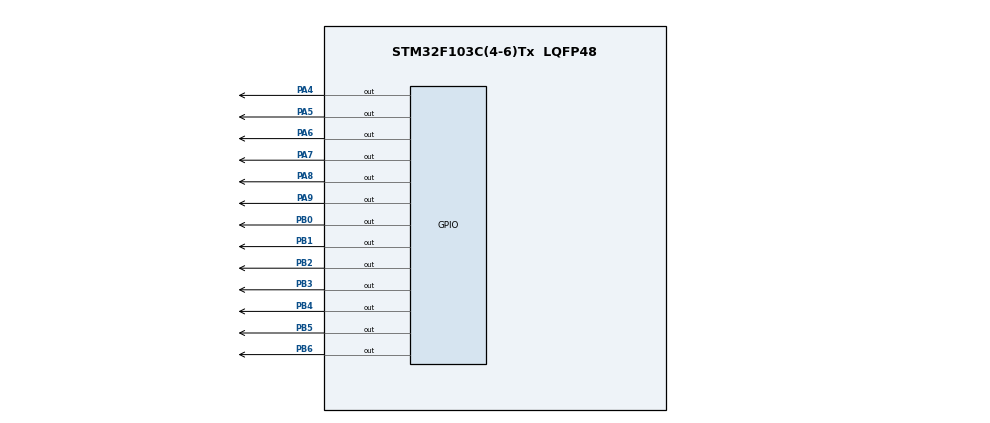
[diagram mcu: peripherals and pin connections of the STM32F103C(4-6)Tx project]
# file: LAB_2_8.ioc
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Mcu.Family=STM32F1
Mcu.Name=STM32F103C(4-6)Tx
Mcu.Package=LQFP48
NVIC.PriorityGroup=NVIC_PRIORITYGROUP_4
NVIC.TIM2_IRQn=true\:0\:0\:false\:false\:true\:true\:true
PA4.Signal=GPIO_Output
PA5.Signal=GPIO_Output
PA6.PinState=GPIO_PIN_SET
PA6.Signal=GPIO_Output
PA7.PinState=GPIO_PIN_SET
PA7.Signal=GPIO_Output
PA8.PinState=GPIO_PIN_SET
PA8.Signal=GPIO_Output
PA9.PinState=GPIO_PIN_SET
PA9.Signal=GPIO_Output
PB0.Signal=GPIO_Output
PB1.Signal=GPIO_Output
PB2.Signal=GPIO_Output
PB3.Signal=GPIO_Output
PB4.Signal=GPIO_Output
PB5.Signal=GPIO_Output
PB6.Signal=GPIO_Output
ProjectManager.HeapSize=0x200
ProjectManager.StackSize=0x400
ProjectManager.TargetToolchain=STM32CubeIDE
RCC.APB1Freq_Value=8000000
RCC.APB2Freq_Value=8000000
TIM2.Period=9
TIM2.Prescaler=7999
VP_SYS_VS_ND.Mode=No_Debug
VP_TIM2_VS_ClockSourceINT.Mode=Internal
board=custom

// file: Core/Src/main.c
/* USER CODE BEGIN Header */
/**
  ******************************************************************************
  * @file           : main.c
  * @brief          : Main program body for Lab 2 - Exercise 8
  ******************************************************************************
  */
/* USER CODE END Header */
#include "main.h"
#include "stm32f1xx_hal_tim.h"

TIM_HandleTypeDef htim2;

/* USER CODE BEGIN PV */
int hour = 15;
int minute = 8;
int second = 50;

const int MAX_LED = 4;
int index_led = 0;
int led_buffer[4] = {1, 5, 0, 8};

// === Software Timer Variables ===
int timer0_counter = 0;
int timer0_flag = 0;

int timer1_counter = 0;
int timer1_flag = 0;

int TIMER_CYCLE = 10; // Hardware timer interrupt period (10ms)
/* USER CODE END PV */

void SystemClock_Config(void);
static void MX_GPIO_Init(void);
static void MX_TIM2_Init(void);

/* USER CODE BEGIN 0 */
// === Software Timer Functions ===
void setTimer0(int duration){
    timer0_counter = duration / TIMER_CYCLE;
    timer0_flag = 0;
}

void setTimer1(int duration){
    timer1_counter = duration / TIMER_CYCLE;
    timer1_flag = 0;
}

void timer_run(){
    if(timer0_counter > 0){
        timer0_counter--;
        if(timer0_counter == 0) {
            timer0_flag = 1;
        }
    }
    if(timer1_counter > 0){
        timer1_counter--;
        if(timer1_counter == 0) {
            timer1_flag = 1;
        }
    }
}
// ================================

void display7SEG(int num) {
    uint8_t segmentMap[10] = {0x40, 0x79, 0x24, 0x30, 0x19, 0x12, 0x02, 0x78, 0x00, 0x10};
    if (num < 0 || num > 9) return;
    uint8_t val = segmentMap[num];

    HAL_GPIO_WritePin(GPIOB, GPIO_PIN_0, (val >> 0) & 0x01);
    HAL_GPIO_WritePin(GPIOB, GPIO_PIN_1, (val >> 1) & 0x01);
    HAL_GPIO_WritePin(GPIOB, GPIO_PIN_2, (val >> 2) & 0x01);
    HAL_GPIO_WritePin(GPIOB, GPIO_PIN_3, (val >> 3) & 0x01);
    HAL_GPIO_WritePin(GPIOB, GPIO_PIN_4, (val >> 4) & 0x01);
    HAL_GPIO_WritePin(GPIOB, GPIO_PIN_5, (val >> 5) & 0x01);
    HAL_GPIO_WritePin(GPIOB, GPIO_PIN_6, (val >> 6) & 0x01);
}

void update7SEG(int index) {
    HAL_GPIO_WritePin(GPIOA, GPIO_PIN_6 | GPIO_PIN_7 | GPIO_PIN_8 | GPIO_PIN_9, GPIO_PIN_SET);

    switch (index) {
        case 0:
            display7SEG(led_buffer[0]);
            HAL_GPIO_WritePin(GPIOA, GPIO_PIN_6, GPIO_PIN_RESET);
            break;
        case 1:
            display7SEG(led_buffer[1]);
            HAL_GPIO_WritePin(GPIOA, GPIO_PIN_7, GPIO_PIN_RESET);
            break;
        case 2:
            display7SEG(led_buffer[2]);
            HAL_GPIO_WritePin(GPIOA, GPIO_PIN_8, GPIO_PIN_RESET);
            break;
        case 3:
            display7SEG(led_buffer[3]);
            HAL_GPIO_WritePin(GPIOA, GPIO_PIN_9, GPIO_PIN_RESET);
            break;
    }
}

void updateClockBuffer() {
    led_buffer[0] = hour / 10;
    led_buffer[1] = hour % 10;
    led_buffer[2] = minute / 10;
    led_buffer[3] = minute % 10;
}
/* USER CODE END 0 */

int main(void)
{
  HAL_Init();
  SystemClock_Config();
  MX_GPIO_Init();
  MX_TIM2_Init();

  /* USER CODE BEGIN 2 */
  HAL_TIM_Base_Start_IT(&htim2);

  // Initialize Timer 0 for the 1-second clock
  setTimer0(1000);

  // Initialize Timer 1 for the 10ms display scanning
  setTimer1(10);
  /* USER CODE END 2 */

  /* Infinite loop */
  while (1)
  {
      /* USER CODE BEGIN WHILE */

      // Task 1: Clock Update and LED Toggle
      if (timer0_flag == 1) {
          second++;
          if (second >= 60){
              second = 0;
              minute++;
          }
          if(minute >= 60){
              minute = 0;
              hour++;
          }
          if(hour >= 24){
              hour = 0;
          }

          updateClockBuffer();
          HAL_GPIO_TogglePin(GPIOA, GPIO_PIN_4 | GPIO_PIN_5);

          setTimer0(1000); // Reset Clock Timer
      }

      // Task 2: 7-Segment Multiplexing
      if (timer1_flag == 1) {
          update7SEG(index_led++);
          if (index_led >= MAX_LED) {
              index_led = 0;
          }

          setTimer1(10); // Reset Scan Timer (10ms)
      }

      /* USER CODE END WHILE */
  }
}

void SystemClock_Config(void)
{
  RCC_OscInitTypeDef RCC_OscInitStruct = {0};
  RCC_ClkInitTypeDef RCC_ClkInitStruct = {0};

  RCC_OscInitStruct.OscillatorType = RCC_OSCILLATORTYPE_HSI;
  RCC_OscInitStruct.HSIState = RCC_HSI_ON;
  RCC_OscInitStruct.HSICalibrationValue = RCC_HSICALIBRATION_DEFAULT;
  RCC_OscInitStruct.PLL.PLLState = RCC_PLL_NONE;
  if (HAL_RCC_OscConfig(&RCC_OscInitStruct) != HAL_OK)
  {
    Error_Handler();
  }
  RCC_ClkInitStruct.ClockType = RCC_CLOCKTYPE_HCLK|RCC_CLOCKTYPE_SYSCLK
                              |RCC_CLOCKTYPE_PCLK1|RCC_CLOCKTYPE_PCLK2;
  RCC_ClkInitStruct.SYSCLKSource = RCC_SYSCLKSOURCE_HSI;
  RCC_ClkInitStruct.AHBCLKDivider = RCC_SYSCLK_DIV1;
  RCC_ClkInitStruct.APB1CLKDivider = RCC_HCLK_DIV1;
  RCC_ClkInitStruct.APB2CLKDivider = RCC_HCLK_DIV1;

  if (HAL_RCC_ClockConfig(&RCC_ClkInitStruct, FLASH_LATENCY_0) != HAL_OK)
  {
    Error_Handler();
  }
}

static void MX_TIM2_Init(void)
{
  TIM_ClockConfigTypeDef sClockSourceConfig = {0};
  TIM_MasterConfigTypeDef sMasterConfig = {0};

  htim2.Instance = TIM2;
  htim2.Init.Prescaler = 7999;
  htim2.Init.CounterMode = TIM_COUNTERMODE_UP;
  htim2.Init.Period = 9; // 10ms hardware interrupt base
  htim2.Init.ClockDivision = TIM_CLOCKDIVISION_DIV1;
  htim2.Init.AutoReloadPreload = TIM_AUTORELOAD_PRELOAD_ENABLE;
  if (HAL_TIM_Base_Init(&htim2) != HAL_OK)
  {
    Error_Handler();
  }
  sClockSourceConfig.ClockSource = TIM_CLOCKSOURCE_INTERNAL;
  if (HAL_TIM_ConfigClockSource(&htim2, &sClockSourceConfig) != HAL_OK)
  {
    Error_Handler();
  }
  sMasterConfig.MasterOutputTrigger = TIM_TRGO_RESET;
  sMasterConfig.MasterSlaveMode = TIM_MASTERSLAVEMODE_DISABLE;
  if (HAL_TIMEx_MasterConfigSynchronization(&htim2, &sMasterConfig) != HAL_OK)
  {
    Error_Handler();
  }
}

static void MX_GPIO_Init(void)
{
  GPIO_InitTypeDef GPIO_InitStruct = {0};

  __HAL_RCC_GPIOA_CLK_ENABLE();
  __HAL_RCC_GPIOB_CLK_ENABLE();

  HAL_GPIO_WritePin(GPIOA, GPIO_PIN_4 | GPIO_PIN_5, GPIO_PIN_RESET);
  HAL_GPIO_WritePin(GPIOA, GPIO_PIN_6|GPIO_PIN_7|GPIO_PIN_8|GPIO_PIN_9, GPIO_PIN_SET);
  HAL_GPIO_WritePin(GPIOB, GPIO_PIN_0|GPIO_PIN_1|GPIO_PIN_2|GPIO_PIN_3
                          |GPIO_PIN_4|GPIO_PIN_5|GPIO_PIN_6, GPIO_PIN_RESET);

  GPIO_InitStruct.Pin = GPIO_PIN_4 | GPIO_PIN_5 | GPIO_PIN_6 | GPIO_PIN_7 | GPIO_PIN_8 | GPIO_PIN_9;
  GPIO_InitStruct.Mode = GPIO_MODE_OUTPUT_PP;
  GPIO_InitStruct.Pull = GPIO_NOPULL;
  GPIO_InitStruct.Speed = GPIO_SPEED_FREQ_LOW;
  HAL_GPIO_Init(GPIOA, &GPIO_InitStruct);

  GPIO_InitStruct.Pin = GPIO_PIN_0|GPIO_PIN_1|GPIO_PIN_2|GPIO_PIN_3
                          |GPIO_PIN_4|GPIO_PIN_5|GPIO_PIN_6;
  GPIO_InitStruct.Mode = GPIO_MODE_OUTPUT_PP;
  GPIO_InitStruct.Pull = GPIO_NOPULL;
  GPIO_InitStruct.Speed = GPIO_SPEED_FREQ_LOW;
  HAL_GPIO_Init(GPIOB, &GPIO_InitStruct);
}

/* USER CODE BEGIN 4 */
void HAL_TIM_PeriodElapsedCallback(TIM_HandleTypeDef *htim)
{
    if(htim->Instance == TIM2)
    {
        // The interrupt is fully optimized and ONLY handles software timers
        timer_run();
    }
}
/* USER CODE END 4 */

void Error_Handler(void)
{
  __disable_irq();
  while (1)
  {
  }
}
